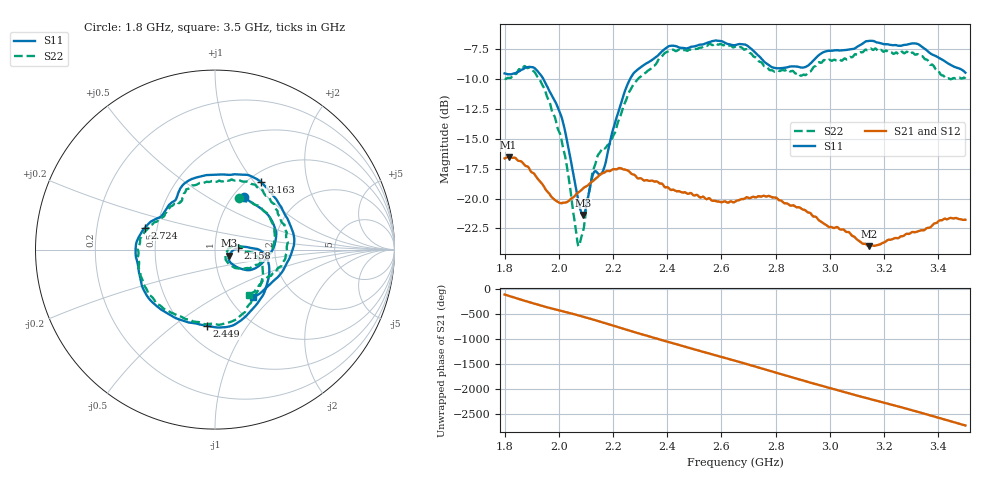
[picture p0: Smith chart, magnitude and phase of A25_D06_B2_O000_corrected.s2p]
! Created with skrf 1.9.0 (http://scikit-rf.org).
# Hz S RI R 50.0
!freq ReS11 ImS11 ReS21 ImS21 ReS12 ImS12 ReS22 ImS22
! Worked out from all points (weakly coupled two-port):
!   1601 points, 1.8 GHz to 3.5 GHz, reference 50 ohm
!   highest |S21| = -16.54 dB at 1.815 GHz (marker M1); lowest = -24.0 dB at 3.144 GHz (marker M2)
!   lowest |S11| = -21.4 dB at 2.089 GHz (marker M3), VSWR 1.19, Z = 58.4 - j4.01 ohm
!   |S11| at or under -10 dB: 1.943 GHz to 2.263 GHz (319.7 MHz wide, 15.2 % of centre)
!   |S22| runs from -24.0 to -7.0 dB; largest |S21 - S12| = 0.0024
!   S11 on the Smith chart (normalised r, x): 1.8 GHz: 1.12, +0.74; 2.158 GHz: 1.29, +0.02; 2.449 GHz: 0.64, -0.67; 2.724 GHz: 0.43, +0.13; 3.163 GHz: 1.15, +1.08; 3.5 GHz: 1.28, -0.76
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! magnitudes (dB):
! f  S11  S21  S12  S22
! 1.8 GHz  -9.5  -16.6  -16.6  -10.0
! 1.815 GHz  -9.6  -16.5  -16.5  -9.9
! 1.88 GHz  -9.0  -17.3  -17.3  -9.0
! 1.942 GHz  -10.0  -18.9  -18.9  -10.6
! 2.013 GHz  -13.4  -20.4  -20.4  -15.4
! 2.068 GHz  -19.7  -19.6  -19.6  -23.5
! 2.084 GHz  -21.2  -19.3  -19.2  -23.2
! 2.089 GHz  -21.4  -19.2  -19.2  -22.8
! 2.128 GHz  -17.9  -18.5  -18.5  -17.5
! 2.158 GHz  -17.9  -17.9  -17.9  -15.9
! 2.259 GHz  -10.2  -17.7  -17.7  -11.1
! 2.367 GHz  -8.0  -18.7  -18.6  -8.4
! 2.449 GHz  -7.4  -19.4  -19.4  -7.6
! 2.65 GHz  -7.2  -20.3  -20.2  -7.3
! 2.724 GHz  -7.8  -19.9  -19.9  -8.2
! 2.799 GHz  -9.1  -19.9  -19.9  -9.4
! 2.934 GHz  -8.6  -21.4  -21.4  -9.2
! 3.144 GHz  -6.8  -24.0  -23.9  -7.5
! 3.163 GHz  -6.8  -24.0  -23.9  -7.5
! 3.217 GHz  -7.1  -23.4  -23.4  -7.8
! 3.323 GHz  -7.1  -22.8  -22.7  -7.9
! 3.5 GHz  -9.5  -21.8  -21.8  -10.0
